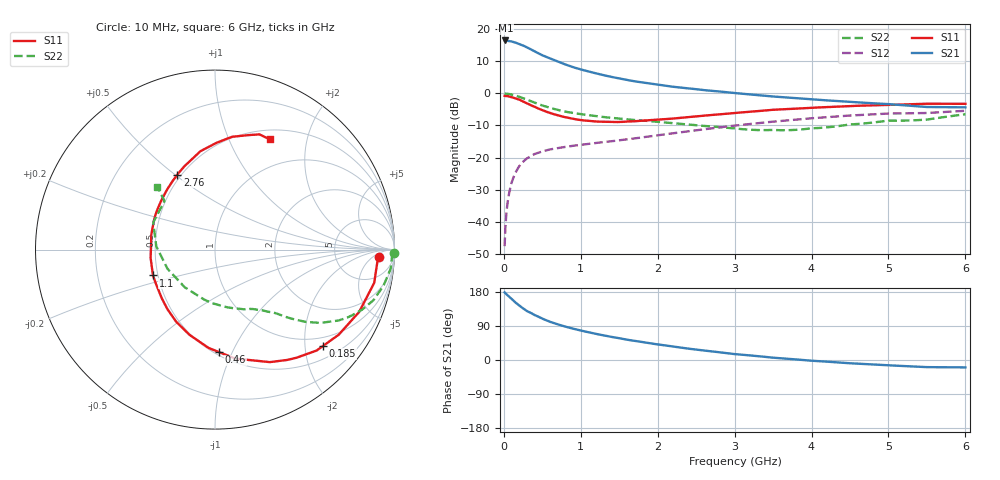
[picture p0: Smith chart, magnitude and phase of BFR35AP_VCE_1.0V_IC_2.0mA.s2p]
! Infineon Technologies  Discrete & RF Semiconductors
! BFR35AP
! VCE =  1.0 V,  IC =  2.0 mA
! Common Emitter S-Parameters:  Nov 2015
# GHz  S  MA  R  50
!  f  S11  S21  S12  S22
! GHz  MAG  ANG  MAG  ANG  MAG  ANG  MAG  ANG
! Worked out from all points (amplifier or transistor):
!   210 points, 10 MHz to 6 GHz, reference 50 ohm
!   highest |S21| = 16.4 dB at 20 MHz (marker M1)
!   |S21| within 3 dB of that: start of sweep to 368.8 MHz
!   unconditionally stable (mu >= 1): 1.092 GHz to end of sweep
!   at 185 MHz: K = 0.23, MSG = 19.4 dB, |S12| = -23.2 dB
!   at 1.52 GHz: K = 1.18, MAG = 7.0 dB, |S12| = -14.6 dB
!   at 6 GHz: K = 1.06, MAG = -0.9 dB, |S12| = -5.4 dB
!   S11 on the Smith chart (normalised r, x): 10 MHz: 18, -8; 185 MHz: 0.79, -2.41; 460 MHz: 0.53, -0.89; 1.1 GHz: 0.47, -0.16; 2.76 GHz: 0.48, +0.51; 6 GHz: 0.61, +1.43
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0.01  0.9118 -2.5  6.584 178.4  0.0042 87.5  0.9957 -1.2
0.02  0.9067 -4.7  6.63 176.0  0.008 88.2  0.9869 -2.4
0.05  0.9062 -11.8  6.543 170.5  0.0205 83.0  0.9846 -6.2
0.1  0.875 -23.4  6.406 161.5  0.0405 76.0  0.9603 -12.1
0.15  0.8368 -34.5  6.159 151.7  0.058 69.7  0.9261 -17.8
0.185  0.8068 -41.6  5.924 146.3  0.0688 66.0  0.897 -20.8
0.24  0.7548 -52.9  5.589 137.7  0.0838 60.5  0.8482 -25.5
0.3  0.6975 -64.0  5.193 129.2  0.0972 55.8  0.7928 -29.9
0.4  0.6178 -79.4  4.492 118.7  0.1137 49.4  0.7129 -35.0
0.46  0.5719 -87.6  4.123 113.2  0.1203 46.8  0.6731 -37.0
0.5  0.5487 -93.8  3.902 108.9  0.1248 45.3  0.647 -38.5
0.6  0.4955 -106.7  3.487 100.8  0.1341 42.2  0.5937 -41.1
0.7  0.4564 -118.3  3.128 94.0  0.1406 40.4  0.5515 -43.2
1.02  0.3808 -149.5  2.315 76.8  0.1591 37.9  0.4711 -47.8
1.1  0.3742 -157.4  2.185 73.1  0.1636 37.9  0.4572 -49.3
1.6  0.3644 167.2  1.612 53.6  0.192 39.0  0.3921 -57.6
2.02  0.3913 145.1  1.353 40.6  0.2242 39.4  0.3583 -67.0
2.76  0.4675 116.6  1.077 21.4  0.2905 36.9  0.3008 -91.5
3.1  0.5052 107.5  0.984 13.9  0.3238 34.0  0.277 -107.4
4.1  0.6031 87.4  0.791 -3.1  0.4169 23.1  0.2891 -163.6
5.1  0.6655 73.5  0.665 -15.0  0.4857 9.5  0.3752 152.1
6  0.6861 63.7  0.605 -19.5  0.535 -0.4  0.473 132.7
